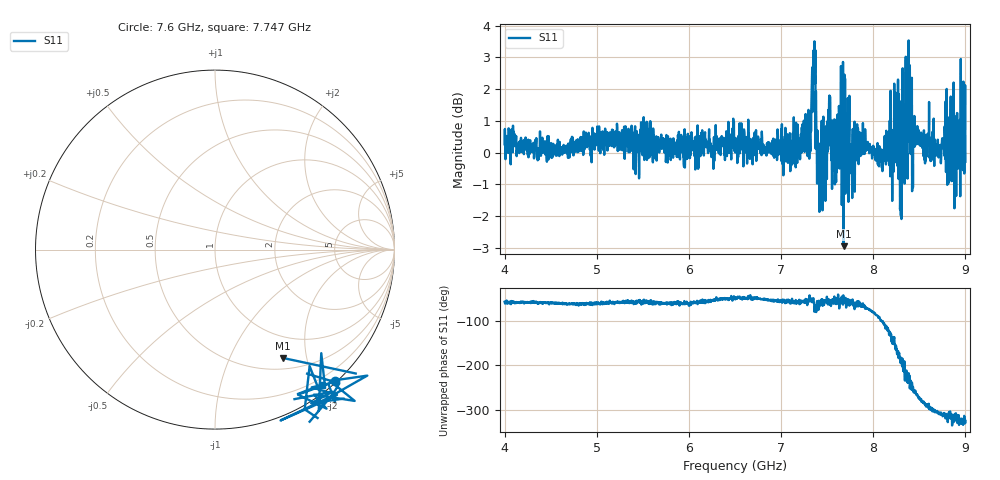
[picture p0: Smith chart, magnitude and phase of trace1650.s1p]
! Created with skrf 1.8.0 (http://scikit-rf.org).
# Hz S RI R 50.0
!freq ReS11 ImS11
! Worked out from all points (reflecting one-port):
!   1601 points, 4 GHz to 9 GHz, reference 50 ohm
!   lowest |S11| = -3.0 dB at 7.678 GHz (marker M1), VSWR 5.94, Z = 32.8 - j80.3 ohm
!   phase of S11 starts at -56 deg and turns -269 deg over the sweep
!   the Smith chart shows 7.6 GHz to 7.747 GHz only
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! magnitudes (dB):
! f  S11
! 4 GHz  0.3
! 4.625 GHz  -0.1
! 5.25 GHz  0.1
! 5.875 GHz  0.4
! 6.5 GHz  0.3
! 7.125 GHz  0.1
! 7.294 GHz  1.1
! 7.353 GHz  2.5
! 7.409 GHz  -0.6
! 7.472 GHz  0.7
! 7.509 GHz  0.8
! 7.578 GHz  1.0
! 7.631 GHz  1.2
! 7.678 GHz  -3.0
! 7.75 GHz  0.3
! 7.869 GHz  0.4
! 8.088 GHz  -0.2
! 8.2 GHz  -0.3
! 8.253 GHz  0.0
! 8.316 GHz  0.7
! 8.334 GHz  0.0
! 8.347 GHz  1.0
! 8.375 GHz  1.5
! 8.447 GHz  1.2
! 8.556 GHz  -0.2
! 8.875 GHz  0.3
! 8.972 GHz  0.8
! 9 GHz  -0.3
